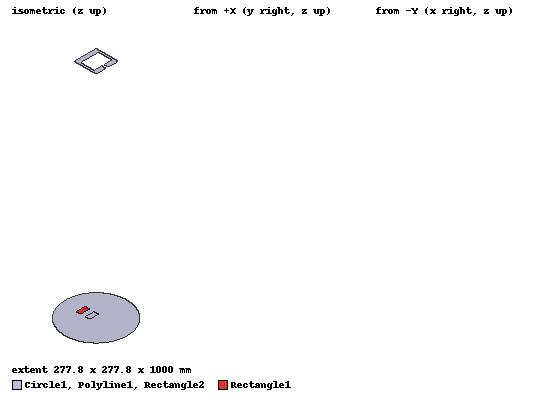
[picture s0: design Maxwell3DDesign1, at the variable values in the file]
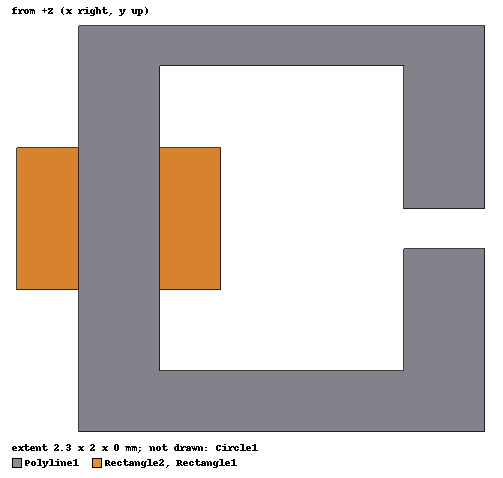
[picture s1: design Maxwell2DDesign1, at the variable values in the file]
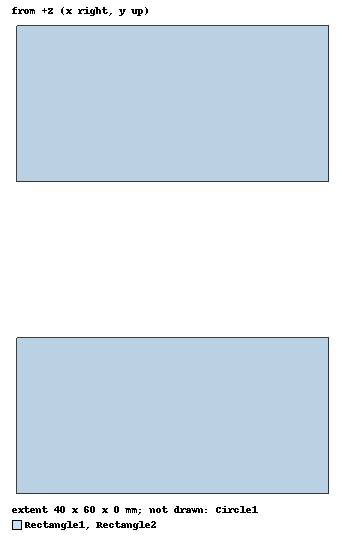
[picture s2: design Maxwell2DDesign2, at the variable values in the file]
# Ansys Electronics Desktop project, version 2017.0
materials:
  vacuum: permittivity=1
  copper: permeability=0.999991 conductivity=58000000
  iron: permeability=4000 conductivity=10300000
  air: permittivity=1.0006 permeability=1.0000004

design Maxwell3DDesign1 (Maxwell 3D, Magnetostatic, model units mm)
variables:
  pitch = 5cm
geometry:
  Polyline1 = polyline(z=100cm, xy in cm: (-0.5, 3) (-0.5, 5) (-5, 5) (-5, -5) (5, -5) (5, 5) (0.5, 5) (0.5, 3) (4, 3) (4, -3) (-4, -3) (-4, 3) (-0.5, 3), closed, covered)
  Circle1 = circle(normal=Z, centre=(0mm, 0mm, 0mm), radius=138.92444mm)
  Rectangle1 = rectangle(corner=(-20mm, -50mm, 0mm), x_size=40mm, y_size=-20mm)
  Rectangle2 = rectangle(corner=(-20mm, -30mm, 0mm), x_size=40mm, y_size=20mm)
  group Polyline_Group = Polyline1
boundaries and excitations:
  Current1: Current Faces=Rectangle1.face Current=12000A IsSolid=true Point_out_of_terminal=false

design Maxwell2DDesign1 (Maxwell 2D, Magnetostatic, XY geometry, model units mm)
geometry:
  Polyline1 [iron] = polyline(z=0mm, xy in mm: (1, 0.2) (0.6, 0.2) (0.6, 0.9) (-0.6, 0.9) (-0.6, -0.6) (0.6, -0.6) (0.6, 0) (1, 0) (1, -0.9) (-1, -0.9) (-1, 1.1) (1, 1.1) (1, 0.2), closed, covered)
  Rectangle1 [copper] = rectangle(corner=(-1mm, 0.5mm, 0mm), x_size=-0.3mm, y_size=-0.7mm)
  Rectangle2 [copper] = rectangle(corner=(-0.6mm, 0.5mm, 0mm), x_size=0.3mm, y_size=-0.7mm)
  Circle1 [air] = circle(normal=Z, centre=(0mm, 0mm, 0mm), radius=2.4413111mm)
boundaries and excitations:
  Balloon1: Balloon Edges=Circle1.edge(1 of 1)
  Current1: Current Objects=Rectangle1 Current=12000A IsPositive=true
  Current2: Current Objects=Rectangle2 Current=12000A IsPositive=false
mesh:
  initial mesh: MeshMethod=AnsoftClassic
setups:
  Setup1: Magnetostatic MaximumPasses=10 MinimumPasses=2 MinimumConvergedPasses=1 PercentRefinement=30 PercentError=1 NonLinearResidual=0.0001
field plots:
  energy1, coEnergy1: Energy over Polyline1, Rectangle1, Rectangle2, Circle1 on Setup1 : LastAdaptive
  Flux_Lines1: A over Polyline1, Rectangle1, Rectangle2, Circle1 on Setup1 : LastAdaptive
  energy2: Energy over Circle1 on Setup1 : LastAdaptive

design Maxwell2DDesign2 (Maxwell 2D, Magnetostatic, XY geometry, model units mm)
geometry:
  Circle1 [vacuum] = circle(normal=Z, centre=(0mm, 0mm, 0mm), radius=138.92444mm)
  Rectangle1 [vacuum] = rectangle(corner=(-20mm, -50mm, 0mm), x_size=40mm, y_size=-20mm)
  Rectangle2 [vacuum] = rectangle(corner=(-20mm, -30mm, 0mm), x_size=40mm, y_size=20mm)
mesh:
  initial mesh: MeshMethod=AnsoftClassic
